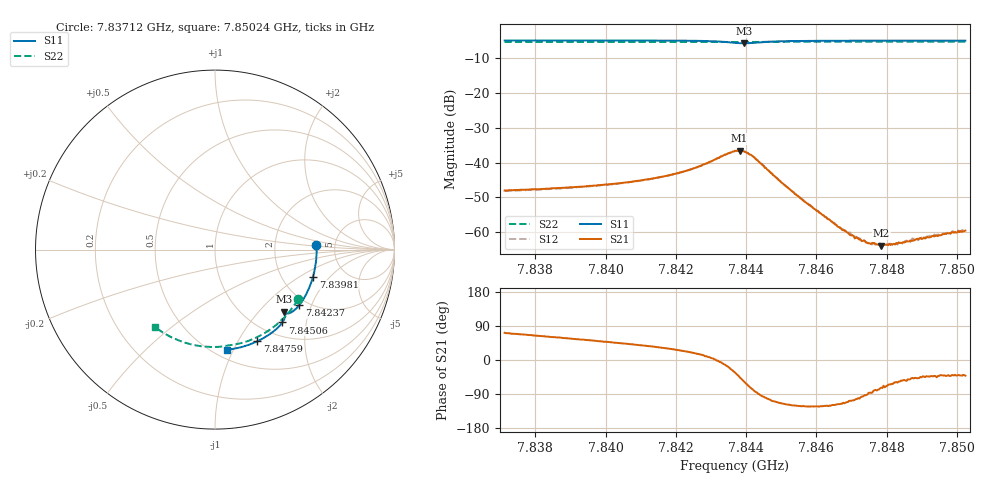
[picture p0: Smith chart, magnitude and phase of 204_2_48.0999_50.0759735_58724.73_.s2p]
#  HZ  S  RI  R  50.00
! Rohde & Schwarz Vector Network Analyzer
! Rohde-Schwarz,ZNB20-2Port,1311601062101988,3.16
! Created: UTC 12/23/2023, 3:55:05 AM
! freq[Hz]  re:S11  im:S11  re:S21  im:S21  re:S12  im:S12  re:S22  im:S22
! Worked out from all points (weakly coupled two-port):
!   401 points, 7.83712 GHz to 7.85024 GHz, reference 50 ohm
!   highest |S21| = -36.56 dB at 7.84381 GHz (marker M1); lowest = -63.9 dB at 7.84785 GHz (marker M2)
!   lowest |S11| = -5.7 dB at 7.84395 GHz (marker M3), VSWR 3.13, Z = 73.2 - j69.1 ohm
!   |S11| at or under -10 dB: nowhere
!   |S22| runs from -5.4 to -5.3 dB; largest |S21 - S12| = 0.00028
!   S11 on the Smith chart (normalised r, x): 7.83712 GHz: 3.58, +0.29; 7.83981 GHz: 2.98, -1.32; 7.84237 GHz: 1.81, -1.64; 7.84506 GHz: 1.25, -1.46; 7.84759 GHz: 0.81, -1.21; 7.85024 GHz: 0.58, -0.94
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7.837124e9  0.5655 0.0277  0.00124 0.00376  0.00129 0.00369  0.4627 -0.2775
7.839322e9  0.5545 -0.1179  0.00266 0.00364  0.00265 0.00358  0.3665 -0.3972
7.839814e9  0.5467 -0.15  0.00307 0.00361  0.00302 0.00358  0.3406 -0.4198
7.841519e9  0.5031 -0.2582  0.00513 0.00337  0.00505 0.00338  0.2404 -0.4849
7.842372e9  0.4692 -0.3095  0.00728 0.00282  0.00724 0.00287  0.1852 -0.5085
7.843684e9  0.3864 -0.3536  0.0123 -0.00804  0.0122 -0.008  0.0969 -0.5303
7.843815e9  0.3823 -0.3494  0.0104 -0.0106  0.0104 -0.0104  0.0886 -0.5315
7.843946e9  0.3826 -0.3463  0.00768 -0.0122  0.00782 -0.0121  0.0803 -0.5329
7.844274e9  0.3905 -0.3537  0.00108 -0.0111  0.0012 -0.0113  0.0593 -0.5371
7.845061e9  0.3751 -0.4058  -0.00211 -0.00442  -0.00209 -0.00445  0.00421 -0.5427
7.845881e9  0.3345 -0.4487  -0.00123 -0.00195  -0.00124 -0.00192  -0.0537 -0.5408
7.846734e9  0.2867 -0.4833  -0.000455 -0.000973  -0.000459 -0.00101  -0.1131 -0.5323
7.847029e9  0.2694 -0.4937  -0.000254 -0.000859  -0.000249 -0.000878  -0.1332 -0.5278
7.847455e9  0.2438 -0.5072  -1.44e-05 -0.000694  -1.98e-06 -0.000711  -0.1621 -0.5199
7.847587e9  0.2358 -0.5111  4.41e-05 -0.000698  6.84e-05 -0.000662  -0.1709 -0.5171
7.847849e9  0.2198 -0.5183  0.000187 -0.00061  0.000176 -0.000622  -0.1883 -0.5112
7.848079e9  0.2054 -0.5241  0.000294 -0.000612  0.000271 -0.000624  -0.2036 -0.5053
7.848243e9  0.195 -0.5281  0.00034 -0.000572  0.000337 -0.000554  -0.2139 -0.5014
7.8488e9  0.1598 -0.5397  0.000522 -0.000567  0.00051 -0.000619  -0.2495 -0.4848
7.848964e9  0.1492 -0.5427  0.000587 -0.000581  0.000562 -0.000585  -0.2598 -0.4795
7.849292e9  0.128 -0.5481  0.000648 -0.000594  0.000663 -0.000607  -0.2799 -0.4684
7.850243e9  0.0657 -0.5588  0.000791 -0.000695  0.000776 -0.000667  -0.3351 -0.4312
